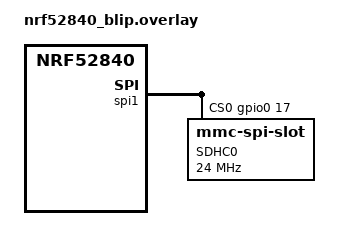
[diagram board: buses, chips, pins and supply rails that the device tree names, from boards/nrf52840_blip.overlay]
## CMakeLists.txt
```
# SPDX-License-Identifier: Apache-2.0

cmake_minimum_required(VERSION 3.13.1)
find_package(Zephyr REQUIRED HINTS $ENV{ZEPHYR_BASE})
project(mass)

FILE(GLOB app_sources src/*.c)
target_sources(app PRIVATE ${app_sources})
```

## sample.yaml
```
sample:
  name: Fat filesystem sample
common:
  tags: filesystem
tests:
  sample.filesystem.fat_fs:
    depends_on: sdhc
    harness: console
    harness_config:
      fixture: fixture_sdhc
  sample.filesystem.fat_fs.overlay:
    platform_allow: nrf52840_blip
  sample.filesystem.fat_fs.adafruit_2_8_tft_touch_v2:
    depends_on: arduino_spi arduino_gpio
    extra_args: SHIELD=adafruit_2_8_tft_touch_v2
    tags: shield
    harness: console
    harness_config:
        fixture: fixture_shield_adafruit_2_8_tft_touch_v2
```

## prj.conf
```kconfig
CONFIG_DISK_ACCESS=y
CONFIG_LOG=y
CONFIG_FILE_SYSTEM=y
CONFIG_FAT_FILESYSTEM_ELM=y
CONFIG_PRINTK=y
CONFIG_MAIN_STACK_SIZE=2048
```

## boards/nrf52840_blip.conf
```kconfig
CONFIG_DISK_DRIVER_SDMMC=y
CONFIG_SPI=y
```

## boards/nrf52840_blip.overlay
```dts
/*
 * Copyright (c) 2019 Tavish Naruka <tavishnaruka@gmail.com>
 *
 * SPDX-License-Identifier: Apache-2.0
 */

&spi1 {
        status = "okay";
        cs-gpios = <&gpio0 17 GPIO_ACTIVE_HIGH>;

        sdhc0: sdhc@0 {
                compatible = "zephyr,mmc-spi-slot";
                reg = <0>;
                status = "okay";
                label = "SDHC0";
                spi-max-frequency = <24000000>;
        };
};
```

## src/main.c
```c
/*
 * Copyright (c) 2019 Tavish Naruka <tavishnaruka@gmail.com>
 *
 * SPDX-License-Identifier: Apache-2.0
 */

/* Sample which uses the filesystem API and SDHC driver */

#include <zephyr.h>
#include <device.h>
#include <storage/disk_access.h>
#include <logging/log.h>
#include <fs/fs.h>
#include <ff.h>

LOG_MODULE_REGISTER(main);

static int lsdir(const char *path);

static FATFS fat_fs;
/* mounting info */
static struct fs_mount_t mp = {
	.type = FS_FATFS,
	.fs_data = &fat_fs,
};

/*
*  Note the fatfs library is able to mount only strings inside _VOLUME_STRS
*  in ffconf.h
*/
static const char *disk_mount_pt = "/SD:";

void main(void)
{
	/* raw disk i/o */
	do {
		static const char *disk_pdrv = "SD";
		uint64_t memory_size_mb;
		uint32_t block_count;
		uint32_t block_size;

		if (disk_access_init(disk_pdrv) != 0) {
			LOG_ERR("Storage init ERROR!");
			break;
		}

		if (disk_access_ioctl(disk_pdrv,
				DISK_IOCTL_GET_SECTOR_COUNT, &block_count)) {
			LOG_ERR("Unable to get sector count");
			break;
		}
		LOG_INF("Block count %u", block_count);

		if (disk_access_ioctl(disk_pdrv,
				DISK_IOCTL_GET_SECTOR_SIZE, &block_size)) {
			LOG_ERR("Unable to get sector size");
			break;
		}
		printk("Sector size %u\n", block_size);

		memory_size_mb = (uint64_t)block_count * block_size;
		printk("Memory Size(MB) %u\n", (uint32_t)(memory_size_mb >> 20));
	} while (0);

	mp.mnt_point = disk_mount_pt;

	int res = fs_mount(&mp);

	if (res == FR_OK) {
		printk("Disk mounted.\n");
		lsdir(disk_mount_pt);
	} else {
		printk("Error mounting disk.\n");
	}

	while (1) {
		k_sleep(K_MSEC(1000));
	}
}

static int lsdir(const char *path)
{
	int res;
	struct fs_dir_t dirp;
	static struct fs_dirent entry;

	fs_dir_t_init(&dirp);

	/* Verify fs_opendir() */
	res = fs_opendir(&dirp, path);
	if (res) {
		printk("Error opening dir %s [%d]\n", path, res);
		return res;
	}

	printk("\nListing dir %s ...\n", path);
	for (;;) {
		/* Verify fs_readdir() */
		res = fs_readdir(&dirp, &entry);

		/* entry.name[0] == 0 means end-of-dir */
		if (res || entry.name[0] == 0) {
			break;
		}

		if (entry.type == FS_DIR_ENTRY_DIR) {
			printk("[DIR ] %s\n", entry.name);
		} else {
			printk("[FILE] %s (size = %zu)\n",
				entry.name, entry.size);
		}
	}

	/* Verify fs_closedir() */
	fs_closedir(&dirp);

	return res;
}
```
